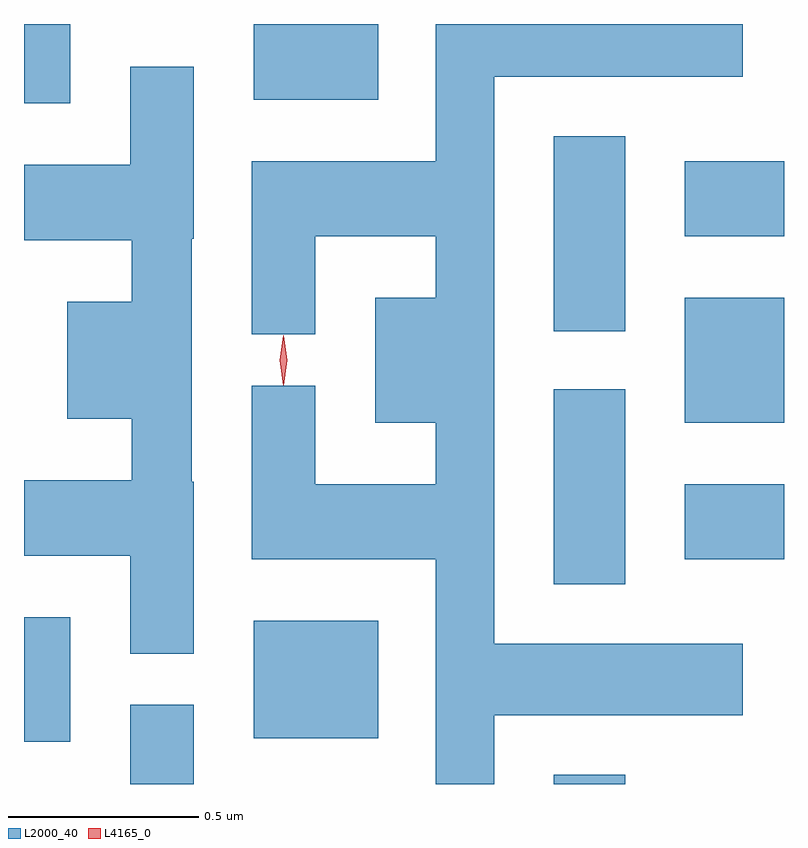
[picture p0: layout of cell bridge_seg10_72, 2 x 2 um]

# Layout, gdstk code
import gdstk
lib = gdstk.Library(unit=1e-6, precision=1e-09)
def R(c, l, rs):  # rectangles x0, y0, x1, y1
    for r in rs: c.add(gdstk.rectangle(r[:2], r[2:], *l))
def P(c, l, *ps):  # polygons
    for p in ps: c.add(gdstk.Polygon(p, *l))
L2000_40 = (2000, 40)
L4165_0 = (4165, 0)

bridge_seg10_72 = lib.new_cell('bridge_seg10_72')
R(bridge_seg10_72, L2000_40, [(1624.601,2176.455,1624.769,2176.663), (1625.716,2176.455,1625.904,2176.479), (1624.322,2176.566,1624.444,2176.894), (1624.926,2176.576,1625.254,2176.884), (1625.716,2176.981,1625.904,2177.494), (1626.061,2177.046,1626.322,2177.244), (1626.061,2177.406,1626.322,2177.734), (1625.716,2177.646,1625.904,2178.159), (1626.061,2177.896,1626.322,2178.094), (1624.322,2178.246,1624.444,2178.455), (1624.926,2178.256,1625.254,2178.455)])
P(bridge_seg10_72, L2000_40, [(1625.559,2176.636),(1626.214,2176.636),(1626.214,2176.824),(1625.559,2176.824),(1625.559,2178.316),(1626.214,2178.316),(1626.214,2178.455),(1625.406,2178.455),(1625.406,2178.094),(1624.921,2178.094),(1624.921,2177.638),(1625.089,2177.638),(1625.089,2177.896),(1625.406,2177.896),(1625.406,2177.734),(1625.246,2177.734),(1625.246,2177.406),(1625.406,2177.406),(1625.406,2177.244),(1625.089,2177.244),(1625.089,2177.503),(1624.921,2177.503),(1624.921,2177.046),(1625.406,2177.046),(1625.406,2176.455),(1625.559,2176.455)],
  [(1624.769,2177.25),(1624.764,2177.25),(1624.764,2177.89),(1624.769,2177.89),(1624.769,2178.343),(1624.601,2178.343),(1624.601,2178.084),(1624.322,2178.084),(1624.322,2177.886),(1624.606,2177.886),(1624.606,2177.724),(1624.436,2177.724),(1624.436,2177.416),(1624.606,2177.416),(1624.606,2177.254),(1624.322,2177.254),(1624.322,2177.056),(1624.601,2177.056),(1624.601,2176.798),(1624.769,2176.798)])
P(bridge_seg10_72, L4165_0, [(1625.005,2177.504),(1625.004,2177.505),(1624.995,2177.57),(1625.004,2177.635),(1625.005,2177.636),(1625.005,2177.635),(1625.015,2177.57),(1625.005,2177.505)])

lib.write_gds('bridge_seg10_72.gds')
